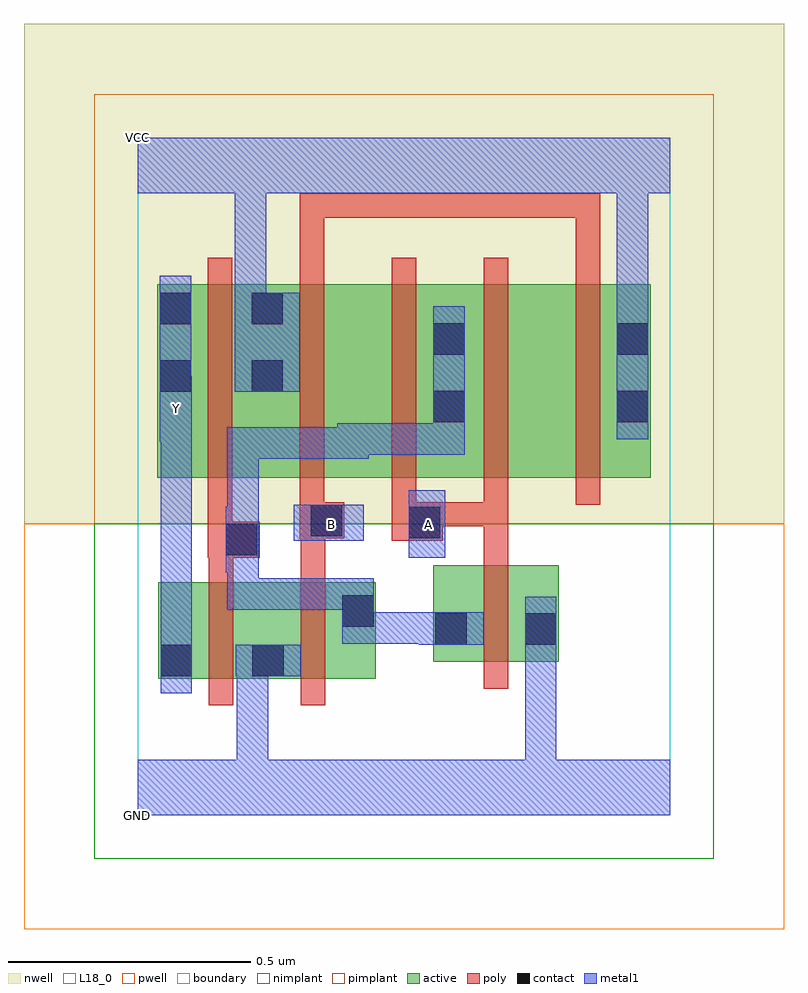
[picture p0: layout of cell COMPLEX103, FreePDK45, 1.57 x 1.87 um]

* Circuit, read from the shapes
.subckt COMPLEX103 A B GND VCC Y
M1 GND n1 Y VSUBS nfet w=0.2u l=0.05u
M2 n1 B GND VSUBS nfet w=0.2u l=0.05u
M3 GND A n1 VSUBS nfet w=0.2u l=0.05u
M4 VCC n1 Y n2 pfet w=0.4u l=0.05u
M5 n3 B VCC n2 pfet w=0.4u l=0.05u
M6 n1 A n3 n2 pfet w=0.4u l=0.05u
M7 n4 A n1 n2 pfet w=0.4u l=0.05u
M8 VCC B n4 n2 pfet w=0.4u l=0.05u
.ends

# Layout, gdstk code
import gdstk
lib = gdstk.Library(unit=1e-6, precision=1e-09)
def R(c, l, rs):  # rectangles x0, y0, x1, y1
    for r in rs: c.add(gdstk.rectangle(r[:2], r[2:], *l))
def A(c, l, x, y, w, h, nx, ny, dx, dy):  # array of equal rectangles
    R(c, l, [(x+i*dx, y+j*dy, x+i*dx+w, y+j*dy+h) for i in range(nx) for j in range(ny)])
active = (1, 0)
pwell = (2, 0)
nwell = (3, 0)
nimplant = (4, 0)
pimplant = (5, 0)
poly = (9, 0)
contact = (10, 0)
metal1 = (11, 0)
L18_0 = (18, 0)
boundary = (235, 0)

complex103 = lib.new_cell('COMPLEX103')
R(complex103, active, [(0.042,0.282,0.307,0.482), (0.042,0.282,0.117,0.482), (0.232,0.282,0.492,0.482), (0.232,0.282,0.307,0.357), (0.61,0.317,0.87,0.517), (0.417,0.347,0.492,0.482), (0.61,0.347,0.685,0.517), (0.795,0.347,0.87,0.517), (0.04,0.697,0.305,1.097), (0.04,0.697,0.115,1.085), (0.23,0.697,0.305,1.097), (0.23,0.697,0.455,1.097), (0.455,0.697,0.68,1.097), (0.605,0.697,0.68,1.097), (0.605,0.697,0.835,1.097), (0.835,0.697,1.06,1.097), (0.985,0.697,1.06,1.097)])
R(complex103, pwell, [(-0.235,-0.235,1.335,0.602)])
R(complex103, nwell, [(-0.235,0.602,1.335,1.635)])
R(complex103, nimplant, [(-0.09,-0.09,1.19,0.602)])
R(complex103, pimplant, [(-0.09,0.602,1.19,1.49)])
A(complex103, poly, 0.335, 0.597, 0.05, 0.095, 3, 1, 0.19, 0)
A(complex103, poly, 0.145, 0.642, 0.05, 0.51, 5, 1, 0.19, 0)
R(complex103, poly, [(0.147,0.227,0.197,0.537), (0.337,0.227,0.387,0.537), (0.715,0.262,0.765,0.572), (0.147,0.487,0.197,0.582), (0.337,0.487,0.387,0.622), (0.715,0.522,0.765,0.647), (0.145,0.532,0.252,0.607), (0.145,0.557,0.195,0.692), (0.525,0.567,0.63,0.647), (0.335,0.572,0.427,0.647), (0.58,0.597,0.765,0.647), (0.715,0.597,0.765,0.647), (0.715,0.597,0.765,0.647), (0.715,0.597,0.765,0.647), (0.335,1.102,0.385,1.285), (0.905,1.102,0.955,1.285), (0.335,1.235,0.385,1.285), (0.335,1.235,0.48,1.285), (0.43,1.235,0.48,1.285), (0.43,1.235,0.557,1.285), (0.507,1.235,0.557,1.285), (0.507,1.235,0.647,1.285), (0.597,1.235,0.647,1.285), (0.597,1.235,0.822,1.285), (0.772,1.235,0.822,1.285), (0.772,1.235,0.932,1.285), (0.882,1.235,0.955,1.285), (0.882,1.235,0.932,1.285), (0.905,1.235,0.955,1.285)])
R(complex103, contact, [(0.047,0.287,0.112,0.352), (0.237,0.287,0.302,0.352), (0.615,0.352,0.68,0.417), (0.8,0.352,0.865,0.417), (0.422,0.39,0.487,0.455), (0.182,0.537,0.247,0.602), (0.56,0.572,0.625,0.637), (0.357,0.577,0.422,0.642), (0.61,0.812,0.675,0.877), (0.99,0.812,1.055,0.877), (0.045,0.875,0.11,0.94), (0.235,0.875,0.3,0.94), (0.61,0.952,0.675,1.017), (0.99,0.952,1.055,1.017), (0.045,1.015,0.11,1.08), (0.235,1.015,0.3,1.08)])
R(complex103, metal1, [(0,0,1.1,0.115), (0.205,0.05,0.27,0.115), (0.205,0.05,0.27,0.115), (0.205,0.05,0.27,0.352), (0.8,0.05,0.865,0.115), (0.8,0.05,0.865,0.115), (0.8,0.05,0.865,0.382), (0.047,0.252,0.112,0.387), (0.202,0.287,0.337,0.352), (0.205,0.287,0.27,0.352), (0.205,0.287,0.27,0.352), (0.8,0.317,0.865,0.382), (0.8,0.317,0.865,0.382), (0.8,0.317,0.865,0.452), (0.047,0.322,0.112,0.837), (0.58,0.352,0.715,0.42), (0.422,0.355,0.487,0.49), (0.422,0.355,0.645,0.42), (0.58,0.355,0.647,0.42), (0.582,0.355,0.647,0.42), (0.185,0.425,0.25,0.49), (0.185,0.425,0.487,0.49), (0.185,0.425,0.25,0.567), (0.422,0.425,0.487,0.49), (0.422,0.425,0.487,0.49), (0.182,0.502,0.247,0.637), (0.182,0.502,0.25,0.567), (0.185,0.502,0.25,0.567), (0.185,0.502,0.25,0.802), (0.56,0.532,0.635,0.672), (0.322,0.567,0.467,0.642), (0.185,0.737,0.25,0.802), (0.185,0.737,0.447,0.802), (0.382,0.737,0.447,0.802), (0.382,0.737,0.477,0.802), (0.412,0.737,0.477,0.81), (0.412,0.745,0.675,0.81), (0.61,0.745,0.675,0.842), (0.045,0.772,0.112,0.907), (0.61,0.777,0.675,0.842), (0.61,0.777,0.675,1.052), (0.99,0.777,1.055,1.052), (0.045,0.84,0.11,0.905), (0.045,0.84,0.11,1.115), (0.2,0.875,0.335,1.08), (0.99,0.987,1.055,1.052), (0.99,0.987,1.055,1.052), (0.99,0.987,1.055,1.35), (0.2,1.015,0.265,1.08), (0.2,1.015,0.265,1.08), (0.2,1.015,0.265,1.35), (0,1.285,1.1,1.4)])
R(complex103, L18_0, [(0,0,1.1,0.115), (0.205,0.05,0.27,0.115), (0.205,0.05,0.27,0.115), (0.205,0.05,0.27,0.352), (0.8,0.05,0.865,0.115), (0.8,0.05,0.865,0.115), (0.8,0.05,0.865,0.382), (0.047,0.252,0.112,0.387), (0.202,0.287,0.337,0.352), (0.205,0.287,0.27,0.352), (0.205,0.287,0.27,0.352), (0.8,0.317,0.865,0.452), (0.8,0.317,0.865,0.382), (0.8,0.317,0.865,0.382), (0.047,0.322,0.112,0.837), (0.56,0.532,0.635,0.672), (0.322,0.567,0.467,0.642), (0.367,0.567,0.432,0.632), (0.567,0.567,0.632,0.632), (0.045,0.772,0.112,0.907), (0.99,0.777,1.055,1.052), (0.047,0.807,0.112,0.872), (0.045,0.84,0.11,1.115), (0.045,0.84,0.11,0.905), (0.2,0.875,0.335,1.08), (0.99,0.987,1.055,1.052), (0.99,0.987,1.055,1.052), (0.99,0.987,1.055,1.35), (0.2,1.015,0.265,1.08), (0.2,1.015,0.265,1.08), (0.2,1.015,0.265,1.35), (0,1.285,1.1,1.4)])
R(complex103, boundary, [(0,0,1.1,1.4)])
complex103.add(gdstk.Label('A', (0.6,0.6), layer=11, texttype=0))
complex103.add(gdstk.Label('B', (0.4,0.6), layer=11, texttype=0))
complex103.add(gdstk.Label('Y', (0.08,0.84), layer=11, texttype=0))
complex103.add(gdstk.Label('VCC', (0,1.4), layer=11, texttype=0))
complex103.add(gdstk.Label('GND', (0,0), layer=11, texttype=0))

lib.write_gds('COMPLEX103.gds')
